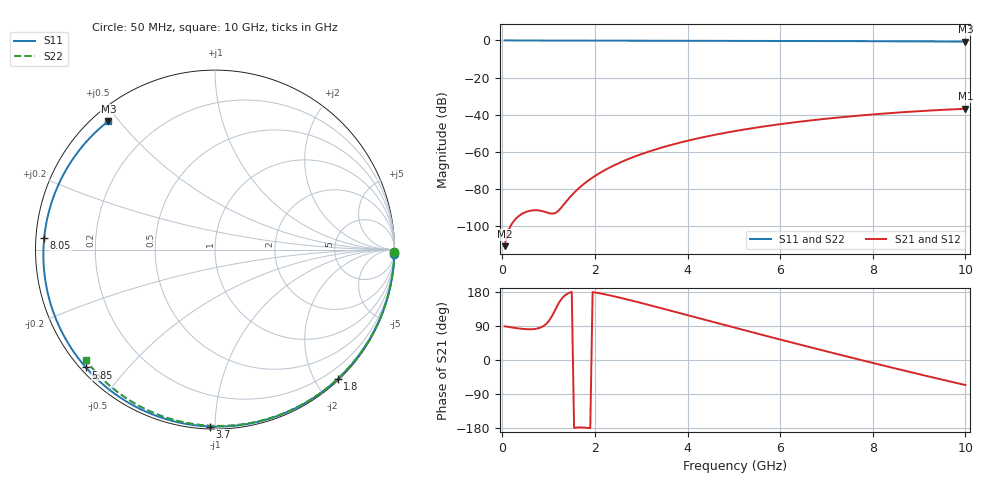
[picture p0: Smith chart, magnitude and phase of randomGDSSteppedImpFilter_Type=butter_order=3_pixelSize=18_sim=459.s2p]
! freq	dB(S11)	phase(S11)	dB(S12)	phase(S12)
!  dB(S21)	phase(S21)	dB(S22)	phase(S22)
!S-par simulation data
#  GHz  S  DB  R 50
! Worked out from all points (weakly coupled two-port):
!   200 points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, 50 MHz to 10 GHz, reference 50 ohm
!   highest |S21| = -36.80 dB at 10 GHz (marker M1); lowest = -110.8 dB at 50 MHz (marker M2)
!   lowest |S11| = -0.6 dB at 10 GHz (marker M3), VSWR 27.76, Z = 2.2 + j23.5 ohm
!   |S11| at or under -10 dB: nowhere
!   |S22| runs from -0.5 to 0.0 dB; largest |S21 - S12| = 0
!   S11 on the Smith chart (normalised r, x): 50 MHz: 0, -86; 1.8 GHz: 0.02, -2.32; 3.7 GHz: 0.01, -0.97; 5.85 GHz: 0.02, -0.39; 8.05 GHz: 0.02, +0.03; 10 GHz: 0.04, +0.47
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0.05  -0.00 -1.3  -110.79 89.0  -110.79 89.0  -0.00 -0.8
0.4  -0.01 -10.6  -93.77 82.6  -93.77 82.6  -0.01 -6.4
0.8  -0.03 -21.0  -91.58 84.5  -91.58 84.5  -0.02 -12.8
1.6  -0.05 -41.6  -80.78 -178.3  -80.78 -178.3  -0.03 -25.5
1.65  -0.05 -42.8  -79.62 -177.9  -79.62 -177.9  -0.03 -26.3
1.75  -0.06 -45.3  -77.49 -178.1  -77.49 -178.1  -0.04 -27.9
1.8  -0.06 -46.6  -76.50 -178.6  -76.50 -178.6  -0.04 -28.6
2.1  -0.07 -54.0  -71.45 176.1  -71.45 176.1  -0.04 -33.3
2.5  -0.08 -63.7  -66.26 165.6  -66.26 165.6  -0.05 -39.5
2.9  -0.09 -73.2  -62.15 153.6  -62.15 153.6  -0.06 -45.5
3.4  -0.11 -84.8  -58.00 137.8  -58.00 137.8  -0.07 -53.0
3.7  -0.12 -91.6  -55.90 128.1  -55.90 128.1  -0.08 -57.4
4.35  -0.15 -105.9  -52.04 107.0  -52.04 107.0  -0.10 -66.8
5.05  -0.18 -120.9  -48.69 84.4  -48.69 84.4  -0.12 -76.6
5.85  -0.23 -137.6  -45.60 58.8  -45.60 58.8  -0.15 -87.4
6.7  -0.29 -155.2  -42.94 32.1  -42.94 32.1  -0.19 -98.6
7.4  -0.35 -169.9  -41.15 10.5  -41.15 10.5  -0.23 -107.5
8.05  -0.41 176.1  -39.74 -9.2  -39.74 -9.2  -0.28 -115.6
8.35  -0.44 169.4  -39.17 -18.2  -39.17 -18.2  -0.31 -119.3
8.8  -0.49 159.1  -38.39 -31.5  -38.39 -31.5  -0.35 -124.8
9.2  -0.53 149.7  -37.79 -43.2  -37.79 -43.2  -0.38 -129.7
10  -0.63 129.7  -36.80 -66.1  -36.80 -66.1  -0.47 -139.4
